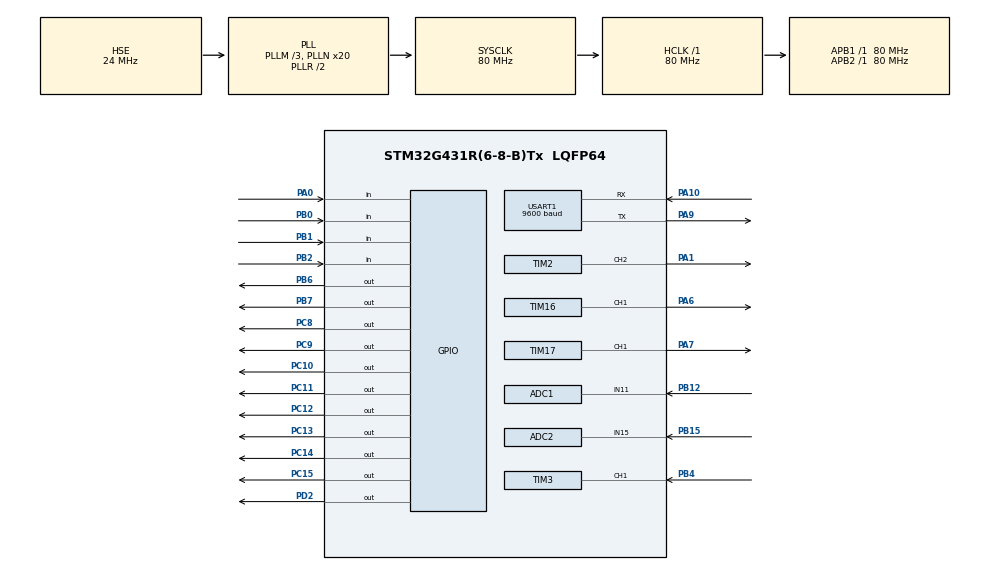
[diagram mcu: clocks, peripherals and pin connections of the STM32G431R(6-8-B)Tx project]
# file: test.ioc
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ADC1.Channel-1\#ChannelRegularConversion=ADC_CHANNEL_11
ADC1.NbrOfConversionFlag=1
ADC1.OffsetNumber-1\#ChannelRegularConversion=ADC_OFFSET_NONE
ADC1.Rank-1\#ChannelRegularConversion=1
ADC1.SamplingTime-1\#ChannelRegularConversion=ADC_SAMPLETIME_2CYCLES_5
ADC1.master=1
ADC2.Channel-0\#ChannelRegularConversion=ADC_CHANNEL_15
ADC2.NbrOfConversionFlag=1
ADC2.OffsetNumber-0\#ChannelRegularConversion=ADC_OFFSET_NONE
ADC2.Rank-0\#ChannelRegularConversion=1
ADC2.SamplingTime-0\#ChannelRegularConversion=ADC_SAMPLETIME_2CYCLES_5
Mcu.Family=STM32G4
Mcu.Name=STM32G431R(6-8-B)Tx
Mcu.Package=LQFP64
NVIC.PriorityGroup=NVIC_PRIORITYGROUP_4
NVIC.TIM2_IRQn=true\:0\:0\:false\:false\:true\:true\:true
NVIC.TIM3_IRQn=true\:0\:0\:false\:false\:true\:true\:true
NVIC.TIM4_IRQn=true\:0\:0\:false\:false\:true\:true\:true
NVIC.USART1_IRQn=true\:0\:0\:false\:false\:true\:true\:true
PA0.GPIO_PuPd=GPIO_PULLUP
PA0.Signal=GPIO_Input
PA1.Signal=S_TIM2_CH2
PA10.Mode=Asynchronous
PA10.Signal=USART1_RX
PA13.Mode=Serial_Wire
PA13.Signal=SYS_JTMS-SWDIO
PA14.Mode=Serial_Wire
PA14.Signal=SYS_JTCK-SWCLK
PA15.Signal=S_TIM2_CH1
PA6.Signal=S_TIM16_CH1
PA7.Signal=S_TIM17_CH1
PA9.Mode=Asynchronous
PA9.Signal=USART1_TX
PB0.GPIO_PuPd=GPIO_PULLUP
PB0.Signal=GPIO_Input
PB1.GPIO_PuPd=GPIO_PULLUP
PB1.Signal=GPIO_Input
PB12.Mode=IN11-Single-Ended
PB12.Signal=ADC1_IN11
PB15.Mode=IN15-Single-Ended
PB15.Signal=ADC2_IN15
PB2.GPIO_PuPd=GPIO_PULLUP
PB2.Signal=GPIO_Input
PB4.Signal=S_TIM3_CH1
PB6.Signal=GPIO_Output
PB7.Signal=GPIO_Output
PC10.PinState=GPIO_PIN_SET
PC10.Signal=GPIO_Output
PC11.PinState=GPIO_PIN_SET
PC11.Signal=GPIO_Output
PC12.PinState=GPIO_PIN_SET
PC12.Signal=GPIO_Output
PC13.PinState=GPIO_PIN_SET
PC13.Signal=GPIO_Output
PC14-OSC32_IN.PinState=GPIO_PIN_SET
PC14-OSC32_IN.Signal=GPIO_Output
PC15-OSC32_OUT.PinState=GPIO_PIN_SET
PC15-OSC32_OUT.Signal=GPIO_Output
PC8.PinState=GPIO_PIN_SET
PC8.Signal=GPIO_Output
PC9.PinState=GPIO_PIN_SET
PC9.Signal=GPIO_Output
PD2.Signal=GPIO_Output
PF0-OSC_IN.Mode=HSE-External-Oscillator
PF0-OSC_IN.Signal=RCC_OSC_IN
PF1-OSC_OUT.Mode=HSE-External-Oscillator
PF1-OSC_OUT.Signal=RCC_OSC_OUT
ProjectManager.HeapSize=0x200
ProjectManager.StackSize=0x400
ProjectManager.TargetToolchain=MDK-ARM V5.32
RCC.ADC12Freq_Value=80000000
RCC.AHBFreq_Value=80000000
RCC.APB1Freq_Value=80000000
RCC.APB1TimFreq_Value=80000000
RCC.APB2Freq_Value=80000000
RCC.APB2TimFreq_Value=80000000
RCC.CortexFreq_Value=80000000
RCC.EXTERNAL_CLOCK_VALUE=12288000
RCC.HCLKFreq_Value=80000000
RCC.HSE_VALUE=24000000
RCC.HSI48_VALUE=48000000
RCC.HSI_VALUE=16000000
RCC.LSE_VALUE=32768
RCC.PLLM=RCC_PLLM_DIV3
RCC.PLLN=20
RCC.PLLSourceVirtual=RCC_PLLSOURCE_HSE
RCC.RTCClockSelection=RCC_RTCCLKSOURCE_HSE_DIV32
RCC.SYSCLKFreq_VALUE=80000000
RCC.SYSCLKSource=RCC_SYSCLKSOURCE_PLLCLK
RCC.USBFreq_Value=80000000
RCC.VCOOutputFreq_Value=160000000
RTC.AsynchPrediv=125
RTC.Hours=23
RTC.Minutes=59
RTC.Month=RTC_MONTH_MARCH
RTC.Seconds=55
RTC.SynchPrediv=6000
RTC.WeekDay=RTC_WEEKDAY_FRIDAY
RTC.Year=24
SH.S_TIM16_CH1.0=TIM16_CH1,PWM Generation1 CH1
SH.S_TIM17_CH1.0=TIM17_CH1,PWM Generation1 CH1
SH.S_TIM2_CH1.0=TIM2_CH1
SH.S_TIM2_CH2.0=TIM2_CH2,PWM Generation2 CH2
SH.S_TIM3_CH1.0=TIM3_CH1,Input_Capture1_from_TI1
TIM16.Channel=TIM_CHANNEL_1
TIM16.PeriodNoDither=100-1
TIM16.Prescaler=8000-1
TIM16.PulseNoDither_1=20
TIM17.Channel=TIM_CHANNEL_1
TIM17.PeriodNoDither=100-1
TIM17.Prescaler=4000-1
TIM17.PulseNoDither_1=40
TIM2.Channel-PWM\ Generation2\ CH2=TIM_CHANNEL_2
TIM2.CounterMode=TIM_COUNTERMODE_UP
TIM2.PeriodNoDither=100
TIM2.Prescaler=8000-1
TIM2.PulseNoDither_2=50
TIM3.Channel-Input_Capture1_from_TI1=TIM_CHANNEL_1
TIM3.Channel-Input_Capture2_from_TI1_63=TIM_CHANNEL_2
TIM3.ICPolarity_CH2=TIM_INPUTCHANNELPOLARITY_FALLING
TIM3.Prescaler=80-1
TIM4.PeriodNoDither=10000-1
TIM4.Prescaler=80-1
USART1.BaudRate=9600
USART1.VirtualMode-Asynchronous=VM_ASYNC
VP_RTC_VS_RTC_Activate.Mode=RTC_Enabled
VP_RTC_VS_RTC_Calendar.Mode=RTC_Calendar
VP_SYS_VS_DBSignals.Mode=DisableDeadBatterySignals
VP_TIM16_VS_ClockSourceINT.Mode=Enable_Timer
VP_TIM17_VS_ClockSourceINT.Mode=Enable_Timer
VP_TIM2_VS_ClockSourceINT.Mode=Internal
VP_TIM3_VS_ClockSourceINT.Mode=Internal
VP_TIM3_VS_indirect_ch1.Mode=Input_Capture2_from_TI1_63
VP_TIM4_VS_ClockSourceINT.Mode=Internal
board=custom

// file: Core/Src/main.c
/* USER CODE BEGIN Header */
/**
 ******************************************************************************
 * @file           : main.c
 * @brief          : Main program body
 ******************************************************************************
 * @attention
 *
 * Copyright (c) 2024 STMicroelectronics.
 * All rights reserved.
 *
 * This software is licensed under terms that can be found in the LICENSE file
 * in the root directory of this software component.
 * If no LICENSE file comes with this software, it is provided AS-IS.
 *
 ******************************************************************************
 */
/* USER CODE END Header */
#include "main.h"
#include "adc.h"
#include "rtc.h"
#include "tim.h"
#include "usart.h"
#include "gpio.h"

/* USER CODE BEGIN Includes */
#include "LED.h"
#include "lcd.h"
#include "stdio.h"
#include "string.h"
#include "Key.h"
#include "interrupt.h"
#include "badc.h"
#include "i2c - hal.h"
#include "PWM.h"
/* USER CODE END Includes */

/* USER CODE BEGIN PTD */

/*执行速度控制变量*/
__IO uint32_t uwTick_LED_Speed_Ctrl;
__IO uint32_t uwTick_KEY_Speed_Ctrl;
__IO uint32_t uwTick_LCD_Speed_Ctrl;
__IO uint32_t uwTick_RTC_Speed_Ctrl;
__IO uint32_t uwTick_Time_Count;
__IO uint32_t uwTick_Usart_Time_Count;

/* USER CODE END PTD */

/* USER CODE BEGIN PD */
/*全局变量区*/
uint8_t ucLED;

uint8_t LCD_String_Disp[21]; // 显示屏显示数据存储数组
uint8_t LCD_Disp_Change = 0; // 显示屏切换界面变量
uint8_t LCD_Line_Change = 0; // 显示屏选择行 1-第一行 2-第二行 3-第三行 默认为0不选择 无高亮文本

uint8_t PA6_duty = 10, PA7_duty = 10;
uint16_t PA6_Frq = 100, PA7_Frq = 200;

uint8_t EEPROM_Save[4] = {10, 10}; // EEPROM芯片中存取的数据
uint8_t EEPROM_Disp[4] = {10, 10}; // EEPROM数据显示数组

// 用于存储时间和日期的结构体
RTC_TimeTypeDef RTC_Time = {0};
RTC_DateTypeDef RTC_Date = {0};
char dateTimeBuffer[50]; // 存储日期时间字符串

float ADC_Value;
float Temp;

uint8_t Mode_Check;

int GEAR = 1;

uint8_t Sleep_flag;

uint8_t USART_flag;

/*拓展变量区*/
extern uint8_t single_key_flag[4]; // 按键单击
extern uint8_t double_key_flag[4]; // 按键双击
extern uint8_t long_key_flag[4];   // 按键长按
extern uint16_t frq1, frq2;        // 输入捕获测量的频率
extern float duty1, duty2;         // 占空比

extern char rxdata[30]; // 串口接收数组
extern uint8_t rxdat;
extern unsigned char rx_pointer;

/* USER CODE END PD */

/* USER CODE BEGIN PM */

/*子函数声明区*/

void LCD_Proc(void);
void KEY_Proc(void);
void LED_Proc(void);
void RTC_Proc(void);
void USART_Proc(void);

/* USER CODE END PM */

void SystemClock_Config(void);

int main(void)
{

  /* MCU Configuration--------------------------------------------------------*/

  /* Reset of all peripherals, Initializes the Flash interface and the Systick. */
  HAL_Init();

  /* Configure the system clock */
  SystemClock_Config();

  /* Initialize all configured peripherals */
  MX_GPIO_Init();
  MX_TIM2_Init();
  MX_TIM16_Init();
  MX_TIM17_Init();
  MX_TIM3_Init();
  MX_TIM4_Init();
  MX_ADC2_Init();
  MX_ADC1_Init();
  MX_USART1_UART_Init();
  MX_RTC_Init();
  /* USER CODE BEGIN 2 */

  /*LED灯初始化*/
  LED_Init();

  /*LCD显示屏初始化*/
  LCD_Init();
  LCD_Clear(Black);
  LCD_SetBackColor(Black);
  LCD_SetTextColor(White);

  /*定时器4基本中断开启,按键中断定时器 时间到就进中断检测按键是否按下*/
  HAL_TIM_Base_Start_IT(&htim4);

  /*定时器2通道2 PWM生成,PA1 引脚PWM生成定时器*/
  HAL_TIM_PWM_Start(&htim2, TIM_CHANNEL_2);

  PWM_Set_Frequency(&htim2, TIM_CHANNEL_2, 2000);

  HAL_ADCEx_Calibration_Start(&hadc1, ADC_SINGLE_ENDED); // 校准ADC1，PB12引脚
  HAL_ADCEx_Calibration_Start(&hadc2, ADC_SINGLE_ENDED); // 校准ADC2，PB15引脚

  /********************************串口接收中断开启***********************************************************/
  HAL_UART_Receive_IT(&huart1, &rxdat, 1);

  /********************************EEPROM存储读取***********************************************************/
  I2C_24c02_Read((uint8_t *)&EEPROM_Save[3], 0x37, 1); // 读取一次判断是否第一次上电

  if (EEPROM_Save[3] != 9) // 初次上电 占空比为10，10
  {
    EEPROM_Save[3] = 9; // 将该位的值改为9写入eeprom中 用于判断非第一次上电 确保再次上电读取eeprom中设置的阈值 以免第一次直接赋值0
    I2C_24c02_Write((uint8_t *)&EEPROM_Save[3], 0x37, 1);
    HAL_Delay(10);
    I2C_24c02_Write((uint8_t *)EEPROM_Save, 0x00, 2); // 将阈值写入EEPROM中
  }
  else // 再次上电读取eeprom中设置的阈值 更新显示的阈
  {
    I2C_24c02_Read(EEPROM_Save, 0x00, 2); // 读取EEPROM中的值
    HAL_Delay(10);
    EEPROM_Disp[0] = EEPROM_Save[0];
    EEPROM_Disp[1] = EEPROM_Save[1];
  }
  /********************************EEPROM存储读取***********************************************************/

  /* USER CODE END 2 */

  /* Infinite loop */
  while (1)
  {

    /* USER CODE BEGIN 3 */
    /*代码写在该行下面 否则会被初始化*/

    LCD_Proc();
    KEY_Proc();
    LED_Proc();
    RTC_Proc();

    if (rx_pointer != 0)
    {
      int temp = rx_pointer;
      HAL_Delay(1);
      if (temp == rx_pointer)
        USART_Proc(); // 完成接收
    }
  }
  /* USER CODE END 3 */
}

void SystemClock_Config(void)
{
  RCC_OscInitTypeDef RCC_OscInitStruct = {0};
  RCC_ClkInitTypeDef RCC_ClkInitStruct = {0};

  /** Configure the main internal regulator output voltage
   */
  HAL_PWREx_ControlVoltageScaling(PWR_REGULATOR_VOLTAGE_SCALE1);
  /** Initializes the RCC Oscillators according to the specified parameters
   * in the RCC_OscInitTypeDef structure.
   */
  RCC_OscInitStruct.OscillatorType = RCC_OSCILLATORTYPE_HSE;
  RCC_OscInitStruct.HSEState = RCC_HSE_ON;
  RCC_OscInitStruct.PLL.PLLState = RCC_PLL_ON;
  RCC_OscInitStruct.PLL.PLLSource = RCC_PLLSOURCE_HSE;
  RCC_OscInitStruct.PLL.PLLM = RCC_PLLM_DIV3;
  RCC_OscInitStruct.PLL.PLLN = 20;
  RCC_OscInitStruct.PLL.PLLP = RCC_PLLP_DIV2;
  RCC_OscInitStruct.PLL.PLLQ = RCC_PLLQ_DIV2;
  RCC_OscInitStruct.PLL.PLLR = RCC_PLLR_DIV2;
  if (HAL_RCC_OscConfig(&RCC_OscInitStruct) != HAL_OK)
  {
    Error_Handler();
  }
  /** Initializes the CPU, AHB and APB buses clocks
   */
  RCC_ClkInitStruct.ClockType = RCC_CLOCKTYPE_HCLK | RCC_CLOCKTYPE_SYSCLK | RCC_CLOCKTYPE_PCLK1 | RCC_CLOCKTYPE_PCLK2;
  RCC_ClkInitStruct.SYSCLKSource = RCC_SYSCLKSOURCE_PLLCLK;
  RCC_ClkInitStruct.AHBCLKDivider = RCC_SYSCLK_DIV1;
  RCC_ClkInitStruct.APB1CLKDivider = RCC_HCLK_DIV1;
  RCC_ClkInitStruct.APB2CLKDivider = RCC_HCLK_DIV1;

  if (HAL_RCC_ClockConfig(&RCC_ClkInitStruct, FLASH_LATENCY_2) != HAL_OK)
  {
    Error_Handler();
  }
}

/* USER CODE BEGIN 4 */

/*****************************************LED灯控制函数***************************************************/
void LED_Proc(void)
{
  if ((uwTick - uwTick_LED_Speed_Ctrl) < 200)
    return;
  uwTick_LED_Speed_Ctrl = uwTick; // 200ms执行一次

  if (!Mode_Check)
    ucLED |= 0x80;
  else
    ucLED &= 0x0F;

  if (GEAR == 1)
    ucLED |= 0x01;
  else
    ucLED &= 0x8E;

  if (GEAR == 2)
    ucLED |= 0x02;
  else
    ucLED &= 0x8D;

  if (GEAR == 3)
    ucLED |= 0x04;
  else
    ucLED &= 0x8B;

  if (USART_flag && uwTick - uwTick_Usart_Time_Count < 3000)
  {
    ucLED |= 0x08;
  }
  else
  {
    ucLED &= 0x87;
    USART_flag = 0;
  }
  // ucLED ^= 0x01;  //异或运算 相同为0，不同为1

  LED_Disp(ucLED);
}

/*****************************************显示屏控制函数***************************************************/
void LCD_Proc(void)
{
  if ((uwTick - uwTick_LCD_Speed_Ctrl) < 100)
    return;
  uwTick_LCD_Speed_Ctrl = uwTick;

  ADC_Value = Get_ADC_Average(&hadc2, 10);

  if (ADC_Value < 1.0f)
    Temp = 20.0f;
  else if (ADC_Value < 3.0f && ADC_Value >= 1.0f)
    Temp = 10.0f * ADC_Value + 10;
  if (ADC_Value >= 3.0f)
    Temp = 40.0f;

  if (!Mode_Check) // 自动控制
  {
    if (Temp < 25.0f)
      GEAR = 1;
    if (Temp <= 30.0f && Temp >= 25.0f)
      GEAR = 2;
    if (Temp > 30.0f)
      GEAR = 3;
  }

  if (GEAR == 1)
    PWM_Set_Duty(&htim2, TIM_CHANNEL_2, 10);
  else if (GEAR == 2)
    PWM_Set_Duty(&htim2, TIM_CHANNEL_2, 40);
  else if (GEAR == 3)
    PWM_Set_Duty(&htim2, TIM_CHANNEL_2, 80);

  if (uwTick - uwTick_Time_Count > 5000 && Sleep_flag == 0)
  {
    LCD_Clear(Black);
    LCD_Disp_Change = 1; // 切换到睡眠界面
    Sleep_flag = 1;
  }

  if (LCD_Disp_Change == 0)
  {
    LCD_SetTextColor(White); // 初始文本颜色 防止受上一个对文本颜色的改变影响

    memset(LCD_String_Disp, 0, sizeof(LCD_String_Disp));
    sprintf((char *)LCD_String_Disp, "DATA  ");
    LCD_DisplayStringAtLineColumn(Line2, Col9, LCD_String_Disp);

    memset(LCD_String_Disp, 0, sizeof(LCD_String_Disp));
    sprintf((char *)LCD_String_Disp, "TEMP:%.1f   ", Temp);
    LCD_DisplayStringAtLineColumn(Line4, Col6, LCD_String_Disp);

    memset(LCD_String_Disp, 0, sizeof(LCD_String_Disp));
    sprintf((char *)LCD_String_Disp, "MODE:%s     ", Mode_Check ? "Manu" : "Auto");
    LCD_DisplayStringAtLineColumn(Line5, Col6, LCD_String_Disp);

    memset(LCD_String_Disp, 0, sizeof(LCD_String_Disp));
    sprintf((char *)LCD_String_Disp, "GEAR:%d     ", GEAR);
    LCD_DisplayStringAtLineColumn(Line6, Col6, LCD_String_Disp);
  }
  else
  {
    LCD_SetTextColor(White); // 初始文本颜色 防止受上一个对文本颜色的改变影响

    memset(LCD_String_Disp, 0, sizeof(LCD_String_Disp));
    sprintf((char *)LCD_String_Disp, "SLEEPING     ");
    LCD_DisplayStringAtLineColumn(Line5, Col6, LCD_String_Disp);

    memset(LCD_String_Disp, 0, sizeof(LCD_String_Disp));
    sprintf((char *)LCD_String_Disp, "TEMP:%.1f    ", Temp);
    LCD_DisplayStringAtLineColumn(Line6, Col6, LCD_String_Disp);
  }
}
/*****************************************按键控制函数***************************************************/
void KEY_Proc(void)
{
  if ((uwTick - uwTick_KEY_Speed_Ctrl) < 50)
    return;
  uwTick_KEY_Speed_Ctrl = uwTick; // 50ms执行一次

  if (single_key_flag[0] == 1) // 按键1单击刷新控制模式
  {
    if (LCD_Disp_Change == 0)
    {
      Mode_Check ^= 1; // 0-自动控制 1-手动控制
    }
    else
    {
      LCD_Clear(Black);
      Sleep_flag = 0;
      LCD_Disp_Change = 0;
    }
    uwTick_Time_Count = uwTick;
    single_key_flag[0] = 0;
  }

  if (single_key_flag[1] == 1) // 按键2单击
  {
    if (LCD_Disp_Change == 0)
    {
      if (Mode_Check) // 手动控制
      {
        GEAR += 1;
        if (GEAR > 3)
          GEAR = 3;
      }
    }
    else
    {
      LCD_Clear(Black);
      Sleep_flag = 0;
      LCD_Disp_Change = 0;
    }
    uwTick_Time_Count = uwTick;
    single_key_flag[1] = 0;
  }

  if (single_key_flag[2] == 1) // 按键3单击
  {
    if (LCD_Disp_Change == 0)
    {
      if (Mode_Check) // 手动控制
      {
        GEAR -= 1;
        if (GEAR < 1)
          GEAR = 1;
      }
    }
    else
    {
      LCD_Clear(Black);
      Sleep_flag = 0;
      LCD_Disp_Change = 0;
    }
    uwTick_Time_Count = uwTick;
    single_key_flag[2] = 0;
  }
}

/*****************************************串口接收函数***************************************************/
void USART_Proc(void)
{

  if (rx_pointer > 0)
  {

    if (rx_pointer == 2)
    {
      if (rxdata[0] == 'B' && rxdata[1] == '1')
      {
        if (LCD_Disp_Change == 0)
        {
          Mode_Check ^= 1; // 0-自动控制 1-手动控制
        }
        else
        {
          LCD_Clear(Black);
          Sleep_flag = 0;
          LCD_Disp_Change = 0;
        }
        USART_flag = 1;
        uwTick_Time_Count = uwTick;
        uwTick_Usart_Time_Count = uwTick;
      }

      else if (rxdata[0] == 'B' && rxdata[1] == '2')
      {
        if (LCD_Disp_Change == 0)
        {
          if (Mode_Check) // 手动控制
          {
            GEAR += 1;
            if (GEAR > 3)
              GEAR = 3;
          }
        }
        else
        {
          LCD_Clear(Black);
          Sleep_flag = 0;
          LCD_Disp_Change = 0;
        }
        USART_flag = 1;
        uwTick_Time_Count = uwTick;
        uwTick_Usart_Time_Count = uwTick;
      }
      else if (rxdata[0] == 'B' && rxdata[1] == '3')
      {
        if (LCD_Disp_Change == 0)
        {
          if (Mode_Check) // 手动控制
          {
            GEAR -= 1;
            if (GEAR < 1)
              GEAR = 1;
          }
        }
        else
        {
          LCD_Clear(Black);
          Sleep_flag = 0;
          LCD_Disp_Change = 0;
        }
        USART_flag = 1;
        uwTick_Time_Count = uwTick;
        uwTick_Usart_Time_Count = uwTick;
      }
      else
      {
        printf("NULL\r\n");
      }
    }
  }
  else
  {
    printf("NULL\r\n");
  }

  rx_pointer = 0;
  memset(rxdata, 0, 30);
}

/*RTC时钟配置*/
void RTC_Proc(void)
{
  if ((uwTick - uwTick_RTC_Speed_Ctrl) < 1000)
    return;
  uwTick_RTC_Speed_Ctrl = uwTick; // 1s执行一次

  // 获取当前时间和日期
  HAL_RTC_GetTime(&hrtc, &RTC_Time, RTC_FORMAT_BIN);
  HAL_RTC_GetDate(&hrtc, &RTC_Date, RTC_FORMAT_BIN);

  // printf("Date: %02d-%02d-%02d Time: %02d:%02d:%02d\r\n", RTC_Date.Year, RTC_Date.Month, RTC_Date.Date,
  //        RTC_Time.Hours, RTC_Time.Minutes, RTC_Time.Seconds);
}

/*串口重定向*/
int fputc(int ch, FILE *f)
{
  char c = ch;
  HAL_UART_Transmit(&huart1, (uint8_t *)&c, 1, 50);
  return ch;
}

/* USER CODE END 4 */

void Error_Handler(void)
{
  __disable_irq();
  while (1)
  {
  }
}
